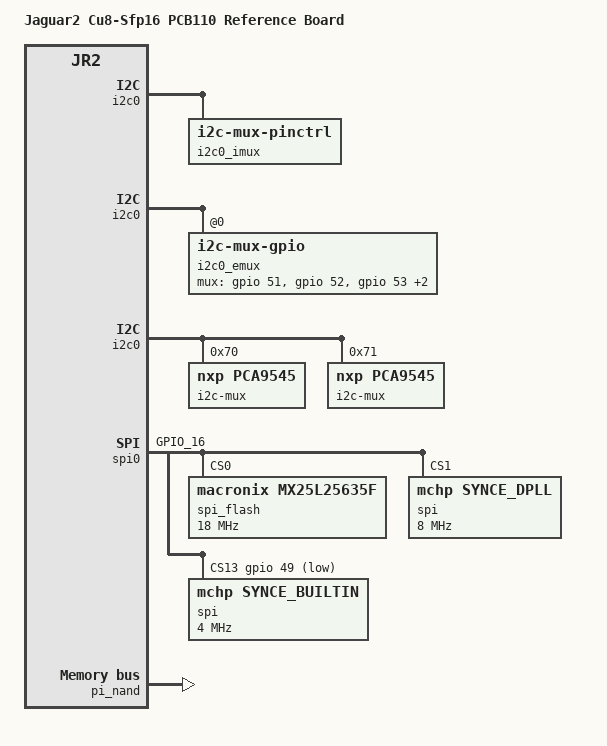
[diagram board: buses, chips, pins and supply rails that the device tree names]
// SPDX-License-Identifier: (GPL-2.0+ OR MIT)
/*
 * Copyright (c) 2020 Microsemi Corporation
 */

/dts-v1/;
#include "jaguar2_common.dtsi"
#include <dt-bindings/gpio/gpio.h>

/ {
	model = "Jaguar2 Cu8-Sfp16 PCB110 Reference Board";
	compatible = "mscc,jr2-pcb110", "mscc,jr2";

	aliases {
		i2c0    = &i2c0;
		i2c108  = &i2c108;
		i2c109  = &i2c109;
		i2c110  = &i2c110;
		i2c111  = &i2c111;
		i2c112  = &i2c112;
		i2c113  = &i2c113;
		i2c114  = &i2c114;
		i2c115  = &i2c115;
		i2c116  = &i2c116;
		i2c117  = &i2c117;
		i2c118  = &i2c118;
		i2c119  = &i2c119;
		i2c120  = &i2c120;
		i2c121  = &i2c121;
		i2c122  = &i2c122;
		i2c123  = &i2c123;
		i2c124  = &i2c124;
		i2c125  = &i2c125;
		i2c126  = &i2c126;
		i2c127  = &i2c127;
		i2c128  = &i2c128;
		i2c129  = &i2c129;
		i2c130  = &i2c130;
		i2c131  = &i2c131;
		i2c149  = &i2c149;
		i2c150  = &i2c150;
		i2c151  = &i2c151;
		i2c152  = &i2c152;
	};
	i2c0_imux: i2c0-imux {
		compatible = "i2c-mux-pinctrl";
		#address-cells = <1>;
		#size-cells = <0>;
		i2c-parent = <&i2c0>;
		pinctrl-names =
			"i2c149", "i2c150", "i2c151", "i2c152", "idle";
		pinctrl-0 = <&i2cmux_0>;
		pinctrl-1 = <&i2cmux_1>;
		pinctrl-2 = <&i2cmux_2>;
		pinctrl-3 = <&i2cmux_3>;
		pinctrl-4 = <&i2cmux_pins_i>;
		i2c149: i2c_sfp_plus_a {
			reg = <0x0>;
			#address-cells = <1>;
			#size-cells = <0>;
		};
		i2c150: i2c_sfp_plus_b {
			reg = <0x1>;
			#address-cells = <1>;
			#size-cells = <0>;
		};
		i2c151: i2c_sfp_plus_c {
			reg = <0x2>;
			#address-cells = <1>;
			#size-cells = <0>;
		};
		i2c152: i2c_sfp_plus_d {
			reg = <0x3>;
			#address-cells = <1>;
			#size-cells = <0>;
		};
	};
	i2c0_emux: i2c0-emux@0 {
		compatible = "i2c-mux-gpio";
		#address-cells = <1>;
		#size-cells = <0>;
		i2c-parent = <&i2c0>;
		mux-gpios = <&gpio 51 GPIO_ACTIVE_HIGH
			     &gpio 52 GPIO_ACTIVE_HIGH
			     &gpio 53 GPIO_ACTIVE_HIGH
			     &gpio 58 GPIO_ACTIVE_HIGH
			     &gpio 59 GPIO_ACTIVE_HIGH>;
		idle-state = <0x18>;
		i2c108: i2c_sfp9 {
			reg = <0x10>;
			#address-cells = <1>;
			#size-cells = <0>;
		};
		i2c109: i2c_sfp10 {
			reg = <0x11>;
			#address-cells = <1>;
			#size-cells = <0>;
		};
		i2c110: i2c_sfp11 {
			reg = <0x12>;
			#address-cells = <1>;
			#size-cells = <0>;
		};
		i2c111: i2c_sfp12 {
			reg = <0x13>;
			#address-cells = <1>;
			#size-cells = <0>;
		};
		i2c112: i2c_sfp13 {
			reg = <0x14>;
			#address-cells = <1>;
			#size-cells = <0>;
		};
		i2c113: i2c_sfp14 {
			reg = <0x15>;
			#address-cells = <1>;
			#size-cells = <0>;
		};
		i2c114: i2c_sfp15 {
			reg = <0x16>;
			#address-cells = <1>;
			#size-cells = <0>;
		};
		i2c115: i2c_sfp16 {
			reg = <0x17>;
			#address-cells = <1>;
			#size-cells = <0>;
		};
		i2c116: i2c_sfp17 {
			reg = <0x8>;
			#address-cells = <1>;
			#size-cells = <0>;
		};
		i2c117: i2c_sfp18 {
			reg = <0x9>;
			#address-cells = <1>;
			#size-cells = <0>;
		};
		i2c118: i2c_sfp19 {
			reg = <0xa>;
			#address-cells = <1>;
			#size-cells = <0>;
		};
		i2c119: i2c_sfp20 {
			reg = <0xb>;
			#address-cells = <1>;
			#size-cells = <0>;
		};
		i2c120: i2c_sfp21 {
			reg = <0xc>;
			#address-cells = <1>;
			#size-cells = <0>;
		};
		i2c121: i2c_sfp22 {
			reg = <0xd>;
			#address-cells = <1>;
			#size-cells = <0>;
		};
		i2c122: i2c_sfp23 {
			reg = <0xe>;
			#address-cells = <1>;
			#size-cells = <0>;
		};
		i2c123: i2c_sfp24 {
			reg = <0xf>;
			#address-cells = <1>;
			#size-cells = <0>;
		};
	};
};

&gpio {
	synce_pins: synce-pins {
		// GPIO 16 == SI_nCS1
		pins = "GPIO_16";
		function = "si";
	};
	synce_builtin_pins: synce-builtin-pins {
		// GPIO 49 == SI_nCS13
		pins = "GPIO_49";
		function = "si";
	};
	i2cmux_pins_i: i2cmux-pins {
		pins = "GPIO_17", "GPIO_18", "GPIO_20", "GPIO_21";
		function = "twi_scl_m";
		output-low;
	};
	i2cmux_0: i2cmux-0-pins {
		pins = "GPIO_17";
		function = "twi_scl_m";
		output-high;
	};
	i2cmux_1: i2cmux-1-pins {
		pins = "GPIO_18";
		function = "twi_scl_m";
		output-high;
	};
	i2cmux_2: i2cmux-2-pins {
		pins = "GPIO_20";
		function = "twi_scl_m";
		output-high;
	};
	i2cmux_3: i2cmux-3-pins {
		pins = "GPIO_21";
		function = "twi_scl_m";
		output-high;
	};
};

&i2c0 {
	i2c-mux@70 {
		compatible = "nxp,pca9545";
		reg = <0x70>;
		#address-cells = <1>;
		#size-cells = <0>;
		i2c-mux-idle-disconnect;
		i2c124: i2c_x2sfp_1_a {
			#address-cells = <1>;
			#size-cells = <0>;
			reg = <0>;
		};
		i2c125: i2c_x2sfp_1_b {
			/* FMC B */
			#address-cells = <1>;
			#size-cells = <0>;
			reg = <1>;
		};
		i2c126: i2c_x2sfp_1_c {
			#address-cells = <1>;
			#size-cells = <0>;
			reg = <2>;
		};
		i2c127: i2c_x2sfp_1_d {
			#address-cells = <1>;
			#size-cells = <0>;
			reg = <3>;
		};
	};
	i2c-mux@71 {
		compatible = "nxp,pca9545";
		reg = <0x71>;
		#address-cells = <1>;
		#size-cells = <0>;
		i2c-mux-idle-disconnect;
		i2c128: i2c_x2sfp_1_a {
			#address-cells = <1>;
			#size-cells = <0>;
			reg = <0>;
		};
		i2c129: i2c_x2sfp_2_b {
			/* FMC B */
			#address-cells = <1>;
			#size-cells = <0>;
			reg = <1>;
		};
		i2c130: i2c_x2sfp_3_c {
			#address-cells = <1>;
			#size-cells = <0>;
			reg = <2>;
		};
		i2c131: i2c_x2sfp_4_d {
			#address-cells = <1>;
			#size-cells = <0>;
			reg = <3>;
		};
	};
};

&spi0 {
	status = "okay";
	// The first 4 chipselects can be handled properly by the controller
	// by gating with SPI Master sw_mode.  The rest must use GPIOs directly.
	cs-gpios = <0>, <0>, <0>, <0>,
	           <0>, <0>, <0>, <0>,
	           <0>, <0>, <0>, <0>,
	           <0>, <&gpio 49 GPIO_ACTIVE_LOW>, <0>, <0>;
	pinctrl-0 = <&synce_pins>;
	pinctrl-names = "default";
	spi-flash@0 {
		label = "spi_flash";
		compatible = "macronix,mx25l25635f", "jedec,spi-nor";
		spi-max-frequency = <18000000>; /* input clock */
		reg = <0>; /* CS0 */
	};
	// synce module
	spi@1 {
		// GPIO 16 == SI_nCS1
		compatible = "mchp,synce_dpll";
		reg = <0x1>; /* CS1 */
		spi-max-frequency = <8000000>;
	};
	// CPLD for Synce CPLD
	spi@d {
		// GPIO 49 == SI_nCS13
		compatible = "mchp,synce_builtin";
		reg = <0xd>; /* CS13 */
		spi-max-frequency = <4000000>;
	};
};

&pi_nand {
	status = "okay";
	chip-delay = <100>; // MX30LF1GE8AB with internal ECC has 45-70 us tR_ECC
	waitcc = <8>;       // Slow down NAND CS via waitcc - appx 77ns
	partitions {
		compatible = "fixed-partitions";
		#address-cells = <1>;
		#size-cells = <1>;
		/* 256MiB */
		partition@0 {
			    label = "rootfs_nand_data";
			    reg = <0x0000000 0x10000000>;
		};
	};
};
